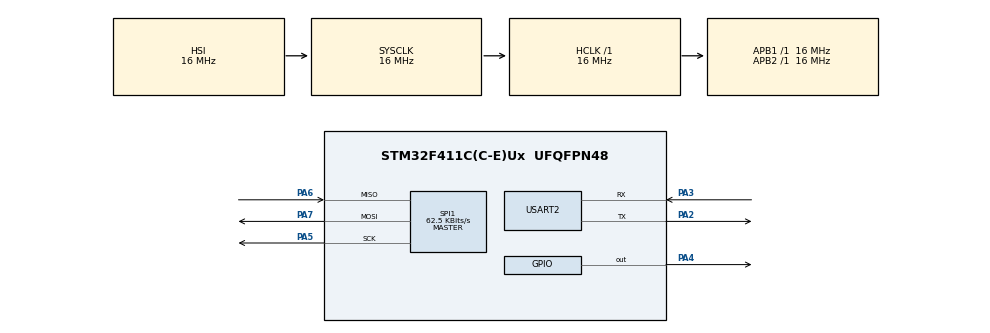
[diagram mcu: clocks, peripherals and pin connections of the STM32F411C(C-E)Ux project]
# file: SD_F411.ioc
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Mcu.Family=STM32F4
Mcu.Name=STM32F411C(C-E)Ux
Mcu.Package=UFQFPN48
NVIC.PriorityGroup=NVIC_PRIORITYGROUP_4
PA2.Mode=Asynchronous
PA2.Signal=USART2_TX
PA3.Mode=Asynchronous
PA3.Signal=USART2_RX
PA4.PinState=GPIO_PIN_SET
PA4.Signal=GPIO_Output
PA5.Mode=Full_Duplex_Master
PA5.Signal=SPI1_SCK
PA6.Mode=Full_Duplex_Master
PA6.Signal=SPI1_MISO
PA7.Mode=Full_Duplex_Master
PA7.Signal=SPI1_MOSI
ProjectManager.HeapSize=0x200
ProjectManager.StackSize=0x400
ProjectManager.TargetToolchain=STM32CubeIDE
RCC.AHBFreq_Value=16000000
RCC.APB1Freq_Value=16000000
RCC.APB2Freq_Value=16000000
RCC.CortexFreq_Value=16000000
RCC.HSE_VALUE=25000000
RCC.HSI_VALUE=16000000
RCC.LSE_VALUE=32768
RCC.SYSCLKFreq_VALUE=16000000
RCC.VCOOutputFreq_Value=192000000
SPI1.BaudRatePrescaler=SPI_BAUDRATEPRESCALER_256
SPI1.CalculateBaudRate=62.5 KBits/s
SPI1.Direction=SPI_DIRECTION_2LINES
SPI1.Mode=SPI_MODE_MASTER
SPI1.VirtualType=VM_MASTER
USART2.VirtualMode=VM_ASYNC
board=custom

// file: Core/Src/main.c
/* USER CODE BEGIN Header */
/**
  ******************************************************************************
  * @file           : main.c
  * @brief          : Main program body
  ******************************************************************************
  * @attention
  *
  * Copyright (c) 2026 STMicroelectronics.
  * All rights reserved.
  *
  * This software is licensed under terms that can be found in the LICENSE file
  * in the root directory of this software component.
  * If no LICENSE file comes with this software, it is provided AS-IS.
  *
  ******************************************************************************
  */
/* USER CODE END Header */
#include "main.h"

/* USER CODE BEGIN Includes */
#include <string.h>
#include <stdio.h>
/* USER CODE END Includes */

SPI_HandleTypeDef hspi1;

UART_HandleTypeDef huart2;

void SystemClock_Config(void);
static void MX_GPIO_Init(void);
static void MX_SPI1_Init(void);
static void MX_USART2_UART_Init(void);

int main(void)
{

  /* MCU Configuration--------------------------------------------------------*/

  /* Reset of all peripherals, Initializes the Flash interface and the Systick. */
  HAL_Init();

  /* Configure the system clock */
  SystemClock_Config();

  /* Initialize all configured peripherals */
  MX_GPIO_Init();
  MX_SPI1_Init();
  MX_USART2_UART_Init();
  /* USER CODE BEGIN 2 */

  /* UART test */
  char msg[64];

  snprintf(msg, sizeof(msg), "UART OK\r\n");

  HAL_UART_Transmit(&huart2,
                    (uint8_t *)msg,
                    strlen(msg),
                    HAL_MAX_DELAY);

  /* SD card SPI initialization */

  uint8_t dummy = 0xFF;

  /* CS = HIGH */
  HAL_GPIO_WritePin(GPIOA, GPIO_PIN_4, GPIO_PIN_SET);

  /* 80 clock cycles with CS = HIGH */
  for (int i = 0; i < 10; i++)
  {
      HAL_SPI_Transmit(&hspi1,
                       &dummy,
                       1,
                       HAL_MAX_DELAY);
  }

  /* CMD0 */

  uint8_t cmd0[] = {
      0x40, 0x00, 0x00, 0x00, 0x00, 0x95
  };

  HAL_GPIO_WritePin(GPIOA, GPIO_PIN_4, GPIO_PIN_RESET);

  HAL_SPI_Transmit(&hspi1,
                   cmd0,
                   sizeof(cmd0),
                   HAL_MAX_DELAY);

  /* Read CMD0 response */

  uint8_t r1_cmd0 = 0xFF;

  for (int i = 0; i < 10; i++)
  {
      HAL_SPI_TransmitReceive(&hspi1,
                              &dummy,
                              &r1_cmd0,
                              1,
                              HAL_MAX_DELAY);

      if (r1_cmd0 != 0xFF)
      {
          break;
      }
  }

  /* Print CMD0 response */

  snprintf(msg,
           sizeof(msg),
           "CMD0 R1 = 0x%02X\r\n",
           r1_cmd0);

  HAL_UART_Transmit(&huart2,
                    (uint8_t *)msg,
                    strlen(msg),
                    HAL_MAX_DELAY);

  /* Finish CMD0 transaction */

  HAL_GPIO_WritePin(GPIOA, GPIO_PIN_4, GPIO_PIN_SET);

  HAL_SPI_Transmit(&hspi1,
                   &dummy,
                   1,
                   HAL_MAX_DELAY);

  HAL_GPIO_WritePin(GPIOA, GPIO_PIN_4, GPIO_PIN_SET);

  /* Extra clock cycles with CS = HIGH */

  for (int i = 0; i < 2; i++)
  {
      HAL_SPI_Transmit(&hspi1,
                       &dummy,
                       1,
                       HAL_MAX_DELAY);
  }

  /* CMD8 */

  uint8_t cmd8[] = {
      0x48, 0x00, 0x00, 0x01, 0xAA, 0x87
  };

  HAL_GPIO_WritePin(GPIOA, GPIO_PIN_4, GPIO_PIN_RESET);

  HAL_SPI_Transmit(&hspi1,
                   cmd8,
                   sizeof(cmd8),
                   HAL_MAX_DELAY);

  /* Read CMD8 R1 response */

  uint8_t r1_cmd8 = 0xFF;

  for (int i = 0; i < 10; i++)
  {
      HAL_SPI_TransmitReceive(&hspi1,
                              &dummy,
                              &r1_cmd8,
                              1,
                              HAL_MAX_DELAY);

      if (r1_cmd8 != 0xFF)
      {
          break;
      }
  }

  /* Print CMD8 response */

  snprintf(msg,
           sizeof(msg),
           "CMD8 R1 = 0x%02X\r\n",
           r1_cmd8);

  HAL_UART_Transmit(&huart2,
                    (uint8_t *)msg,
                    strlen(msg),
                    HAL_MAX_DELAY);

  uint8_t response[4];

  for (int i = 0; i < 4; i++)
  {
      HAL_SPI_TransmitReceive(&hspi1,
                              &dummy,
                              &response[i],
                              1,
                              HAL_MAX_DELAY);
  }

  snprintf(msg,
           sizeof(msg),
           "CMD8 data = %02X %02X %02X %02X\r\n",
           response[0],
           response[1],
           response[2],
           response[3]);

  HAL_UART_Transmit(&huart2,
                    (uint8_t *)msg,
                    strlen(msg),
                    HAL_MAX_DELAY);

  /* Finish CMD8 transaction */

  HAL_GPIO_WritePin(GPIOA, GPIO_PIN_4, GPIO_PIN_SET);

  for (int i = 0; i < 2; i++)
  {
      HAL_SPI_Transmit(&hspi1, &dummy, 1, HAL_MAX_DELAY);
  }

  // --- CMD55
  uint8_t cmd55[] = {0x77, 0x00, 0x00, 0x00, 0x00, 0x01};
  uint8_t acmd41[] = {0x69, 0x40, 0x00, 0x00, 0x00, 0x77};

  uint8_t r1_cmd55;
  uint8_t r1_acmd41;

  for (int attempt = 0; attempt < 100; attempt++)
  {
      /* CMD55 */

      HAL_GPIO_WritePin(GPIOA, GPIO_PIN_4, GPIO_PIN_RESET);

      HAL_SPI_Transmit(&hspi1,
                       cmd55,
                       sizeof(cmd55),
                       HAL_MAX_DELAY);

      r1_cmd55 = 0xFF;

      for (int i = 0; i < 10; i++)
      {
          HAL_SPI_TransmitReceive(&hspi1,
                                  &dummy,
                                  &r1_cmd55,
                                  1,
                                  HAL_MAX_DELAY);

          if (r1_cmd55 != 0xFF)
              break;
      }

      HAL_GPIO_WritePin(GPIOA, GPIO_PIN_4, GPIO_PIN_SET);

      HAL_SPI_Transmit(&hspi1,
                       &dummy,
                       1,
                       HAL_MAX_DELAY);

      /* ACMD41 */

      HAL_GPIO_WritePin(GPIOA, GPIO_PIN_4, GPIO_PIN_RESET);

      HAL_SPI_Transmit(&hspi1,
                       acmd41,
                       sizeof(acmd41),
                       HAL_MAX_DELAY);

      r1_acmd41 = 0xFF;

      for (int i = 0; i < 10; i++)
      {
          HAL_SPI_TransmitReceive(&hspi1,
                                  &dummy,
                                  &r1_acmd41,
                                  1,
                                  HAL_MAX_DELAY);

          if (r1_acmd41 != 0xFF)
              break;
      }

      HAL_GPIO_WritePin(GPIOA, GPIO_PIN_4, GPIO_PIN_SET);

      HAL_SPI_Transmit(&hspi1,
                       &dummy,
                       1,
                       HAL_MAX_DELAY);

      snprintf(msg, sizeof(msg),
               "ACMD41 attempt %d: R1 = 0x%02X\r\n",
               attempt + 1,
               r1_acmd41);

      HAL_UART_Transmit(&huart2,
                        (uint8_t *)msg,
                        strlen(msg),
                        HAL_MAX_DELAY);

      if (r1_acmd41 == 0x00)
          break;

      HAL_Delay(10);
  }

  // CMD 58

  uint8_t cmd58[] = {0x7A, 0x00, 0x00, 0x00, 0x00, 0xFD};

  uint8_t r1_cmd58 = 0xFF;
  uint8_t ocr[4];

  /* Select card */
  HAL_GPIO_WritePin(GPIOA, GPIO_PIN_4, GPIO_PIN_RESET);

  /* Send CMD58 */
  HAL_SPI_Transmit(&hspi1,
                   cmd58,
                   sizeof(cmd58),
                   HAL_MAX_DELAY);

  /* Read R1 */
  for (int i = 0; i < 10; i++)
  {
      HAL_SPI_TransmitReceive(&hspi1,
                              &dummy,
                              &r1_cmd58,
                              1,
                              HAL_MAX_DELAY);

      if (r1_cmd58 != 0xFF)
          break;
  }

  /* Read OCR */
  for (int i = 0; i < 4; i++)
  {
      HAL_SPI_TransmitReceive(&hspi1,
                              &dummy,
                              &ocr[i],
                              1,
                              HAL_MAX_DELAY);
  }

  /* Deselect card */
  HAL_GPIO_WritePin(GPIOA, GPIO_PIN_4, GPIO_PIN_SET);

  HAL_SPI_Transmit(&hspi1,
                   &dummy,
                   1,
                   HAL_MAX_DELAY);

  /* Print R1 */
  snprintf(msg, sizeof(msg),
           "CMD58 R1 = 0x%02X\r\n",
           r1_cmd58);

  HAL_UART_Transmit(&huart2,
                    (uint8_t *)msg,
                    strlen(msg),
                    HAL_MAX_DELAY);

  /* Print OCR */
  snprintf(msg, sizeof(msg),
           "OCR = %02X %02X %02X %02X\r\n",
           ocr[0],
           ocr[1],
           ocr[2],
           ocr[3]);

  HAL_UART_Transmit(&huart2,
                    (uint8_t *)msg,
                    strlen(msg),
                    HAL_MAX_DELAY);

// CMD 17
  uint8_t cmd17[] = {0x51, 0x00, 0x00, 0x00, 0x00, 0x55};

  uint8_t r1_cmd17 = 0xFF;
  uint8_t data_token = 0xFF;

  uint8_t block[512];
  uint8_t crc[2];

  /* Select card */
  HAL_GPIO_WritePin(GPIOA, GPIO_PIN_4, GPIO_PIN_RESET);

  /* Send CMD17 */
  HAL_SPI_Transmit(&hspi1,
                   cmd17,
                   sizeof(cmd17),
                   HAL_MAX_DELAY);

  /* Read R1 */
  for (int i = 0; i < 10; i++)
  {
      HAL_SPI_TransmitReceive(&hspi1,
                              &dummy,
                              &r1_cmd17,
                              1,
                              HAL_MAX_DELAY);

      if (r1_cmd17 != 0xFF)
          break;
  }

  /* Wait for data token 0xFE */
  for (int i = 0; i < 100000; i++)
  {
      HAL_SPI_TransmitReceive(&hspi1,
                              &dummy,
                              &data_token,
                              1,
                              HAL_MAX_DELAY);

      if (data_token == 0xFE)
          break;
  }

  /* Read 512-byte block */
  HAL_SPI_Receive(&hspi1,
                  block,
                  sizeof(block),
                  HAL_MAX_DELAY);

  /* Read CRC16 */
  HAL_SPI_Receive(&hspi1,
                  crc,
                  sizeof(crc),
                  HAL_MAX_DELAY);

  /* Deselect card */
  HAL_GPIO_WritePin(GPIOA, GPIO_PIN_4, GPIO_PIN_SET);

  HAL_SPI_Transmit(&hspi1,
                   &dummy,
                   1,
                   HAL_MAX_DELAY);

  /* Print R1 */
  snprintf(msg, sizeof(msg),
           "CMD17 R1 = 0x%02X\r\n",
           r1_cmd17);

  HAL_UART_Transmit(&huart2,
                    (uint8_t *)msg,
                    strlen(msg),
                    HAL_MAX_DELAY);

  /* Print data token */
  snprintf(msg, sizeof(msg),
           "Data token = 0x%02X\r\n",
           data_token);

  HAL_UART_Transmit(&huart2,
                    (uint8_t *)msg,
                    strlen(msg),
                    HAL_MAX_DELAY);

  /* Print first 16 bytes */
  snprintf(msg, sizeof(msg),
           "Data[0..15] = "
           "%02X %02X %02X %02X "
           "%02X %02X %02X %02X "
           "%02X %02X %02X %02X "
           "%02X %02X %02X %02X\r\n",
           block[0],  block[1],
           block[2],  block[3],
           block[4],  block[5],
           block[6],  block[7],
           block[8],  block[9],
           block[10], block[11],
           block[12], block[13],
           block[14], block[15]);

  HAL_UART_Transmit(&huart2,
                    (uint8_t *)msg,
                    strlen(msg),
                    HAL_MAX_DELAY);

  /* USER CODE END 2 */

  /* Infinite loop */
  while (1)
  {

  }
}

void SystemClock_Config(void)
{
  RCC_OscInitTypeDef RCC_OscInitStruct = {0};
  RCC_ClkInitTypeDef RCC_ClkInitStruct = {0};

  /** Configure the main internal regulator output voltage
  */
  __HAL_RCC_PWR_CLK_ENABLE();
  __HAL_PWR_VOLTAGESCALING_CONFIG(PWR_REGULATOR_VOLTAGE_SCALE1);

  /** Initializes the RCC Oscillators according to the specified parameters
  * in the RCC_OscInitTypeDef structure.
  */
  RCC_OscInitStruct.OscillatorType = RCC_OSCILLATORTYPE_HSI;
  RCC_OscInitStruct.HSIState = RCC_HSI_ON;
  RCC_OscInitStruct.HSICalibrationValue = RCC_HSICALIBRATION_DEFAULT;
  RCC_OscInitStruct.PLL.PLLState = RCC_PLL_NONE;
  if (HAL_RCC_OscConfig(&RCC_OscInitStruct) != HAL_OK)
  {
    Error_Handler();
  }

  /** Initializes the CPU, AHB and APB buses clocks
  */
  RCC_ClkInitStruct.ClockType = RCC_CLOCKTYPE_HCLK|RCC_CLOCKTYPE_SYSCLK
                              |RCC_CLOCKTYPE_PCLK1|RCC_CLOCKTYPE_PCLK2;
  RCC_ClkInitStruct.SYSCLKSource = RCC_SYSCLKSOURCE_HSI;
  RCC_ClkInitStruct.AHBCLKDivider = RCC_SYSCLK_DIV1;
  RCC_ClkInitStruct.APB1CLKDivider = RCC_HCLK_DIV1;
  RCC_ClkInitStruct.APB2CLKDivider = RCC_HCLK_DIV1;

  if (HAL_RCC_ClockConfig(&RCC_ClkInitStruct, FLASH_LATENCY_0) != HAL_OK)
  {
    Error_Handler();
  }
}

static void MX_SPI1_Init(void)
{

  /* SPI1 parameter configuration*/
  hspi1.Instance = SPI1;
  hspi1.Init.Mode = SPI_MODE_MASTER;
  hspi1.Init.Direction = SPI_DIRECTION_2LINES;
  hspi1.Init.DataSize = SPI_DATASIZE_8BIT;
  hspi1.Init.CLKPolarity = SPI_POLARITY_LOW;
  hspi1.Init.CLKPhase = SPI_PHASE_1EDGE;
  hspi1.Init.NSS = SPI_NSS_SOFT;
  hspi1.Init.BaudRatePrescaler = SPI_BAUDRATEPRESCALER_256;
  hspi1.Init.FirstBit = SPI_FIRSTBIT_MSB;
  hspi1.Init.TIMode = SPI_TIMODE_DISABLE;
  hspi1.Init.CRCCalculation = SPI_CRCCALCULATION_DISABLE;
  hspi1.Init.CRCPolynomial = 10;
  if (HAL_SPI_Init(&hspi1) != HAL_OK)
  {
    Error_Handler();
  }

}

static void MX_USART2_UART_Init(void)
{

  huart2.Instance = USART2;
  huart2.Init.BaudRate = 115200;
  huart2.Init.WordLength = UART_WORDLENGTH_8B;
  huart2.Init.StopBits = UART_STOPBITS_1;
  huart2.Init.Parity = UART_PARITY_NONE;
  huart2.Init.Mode = UART_MODE_TX_RX;
  huart2.Init.HwFlowCtl = UART_HWCONTROL_NONE;
  huart2.Init.OverSampling = UART_OVERSAMPLING_16;
  if (HAL_UART_Init(&huart2) != HAL_OK)
  {
    Error_Handler();
  }

}

static void MX_GPIO_Init(void)
{
  GPIO_InitTypeDef GPIO_InitStruct = {0};

  /* GPIO Ports Clock Enable */
  __HAL_RCC_GPIOA_CLK_ENABLE();

  /*Configure GPIO pin Output Level */
  HAL_GPIO_WritePin(GPIOA, GPIO_PIN_4, GPIO_PIN_SET);

  /*Configure GPIO pin : PA4 */
  GPIO_InitStruct.Pin = GPIO_PIN_4;
  GPIO_InitStruct.Mode = GPIO_MODE_OUTPUT_PP;
  GPIO_InitStruct.Pull = GPIO_NOPULL;
  GPIO_InitStruct.Speed = GPIO_SPEED_FREQ_LOW;
  HAL_GPIO_Init(GPIOA, &GPIO_InitStruct);

}

void Error_Handler(void)
{
  __disable_irq();
  while (1)
  {
  }
}
